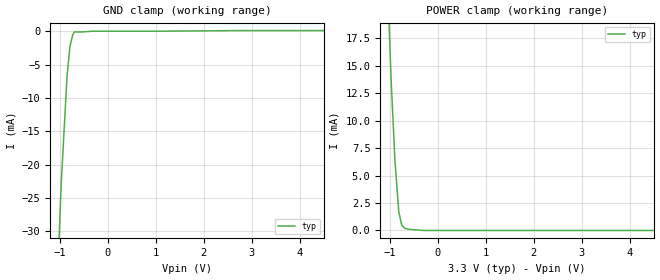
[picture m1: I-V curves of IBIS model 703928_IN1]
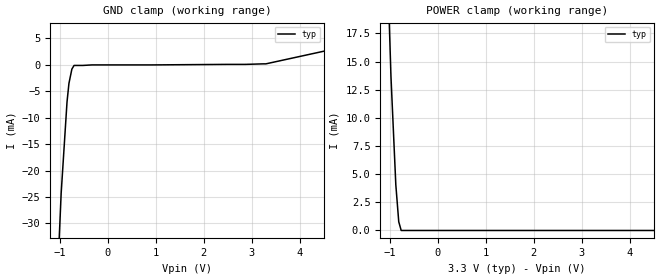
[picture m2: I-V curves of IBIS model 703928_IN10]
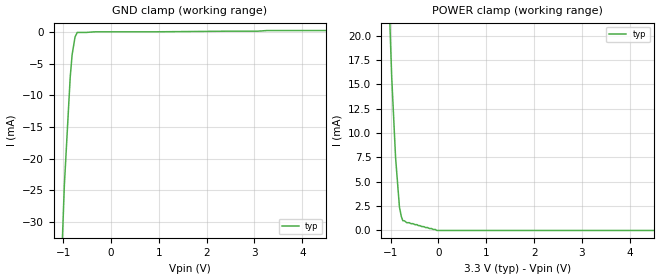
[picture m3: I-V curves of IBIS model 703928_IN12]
| YOU ARE ONLY AUTHORIZED TO USE THIS SOFTWARE
| ACCORDING TO LICENSOR'S LICENSE RESTRICTIONS.
[IBIS Ver] 3.1
[File Name] mc100ep195fa_33v_ecl.ibs
[File Rev] 0.1
[Source] Derived from mc100ep195fa_33v_ecl.ibs Measured and
|   created by ICX Technology
[Date] 11/8/2001
[Copyright]
| (C) COPYRIGHT 1993-2001
| MENTOR GRAPHICS CORPORATION
| ICX STANDARD LIBRARY, ICX PROJECT MODELING,
| ICX CUSTOM MODELING, ICX VENDOR MODEL
| ALL RIGHTS RESERVED.
| THE FOLLOWING ARE TRADEMARKS OR SERVICE MARKS OF
| MENTOR GRAPHICS CORPORATION:ICX (R), ICX STANDARD
| LIBRARY(R), ICX PROJECT MODELING(R), ICX CUSTOM
| MODELING(R), qualityIBIS(TM), MODELVIEWER(TM),
| AND MODELEDITOR(TM)
| ALL COPIES OF SOFTWARE, INCLUDING BUT NOT LIMITED TO
| ANY MODIFICATIONS, ENHANCEMENTS OR DERIVATIVE WORKS,
| MUST CONTAIN ALL MENTOR GRAPHICS CORPORATION'S
| NOTICES AND LEGENDS, INCLUDING THOSE EMBEDDED IN
| SOFTWARE AND THOSE AFFIXED TO SOFTWARE MEDIUM
| AND CONTAINER, AS RECEIVED FROM MENTOR GRAPHICS
| CORPORATION.
|  ZAP Model Builder 3.1
[Component] MC100EP195FA_33v_ECL
[Manufacturer] OnSemico
[Package]
| variable   typ   min   max
R_pkg  .067ohms NA NA
L_pkg  4.211nH NA NA
C_pkg  1.002pF NA NA
[Pin] signal_name  model_name  R_pin  L_pin C_pin
1 D8 703928_IN1 .065 3.973n .928p
2 D9 703928_IN2 .066 4.127n .978p
3 D10 703928_IN1 .068 4.288n 1.027p
4 IN 703928_IN4 .069 4.455n 1.077p
5 _IN 703928_IN4 .069 4.455n 1.077p
6 VBB POWER .068 4.288n 1.027p
7 VEF NC .066 4.127n .978p
8 VCF NC .065 3.973n .928p
9 VEE GND .065 3.973n .928p
10 LEN 703928_IN10 .066 4.127n .978p
11 SETMIN 703928_IN12 .068 4.288n 1.027p
12 SETMAX 703928_IN12 .069 4.455n 1.077p
13 VCC POWER .069 4.455n 1.077p
14 _CASCADE 703928_OUT14 .068 4.288n 1.027p
15 CASCADE 703928_OUT14 .066 4.127n .978p
16 _EN 703928_IN16 .065 3.973n .928p
17 NC NC .065 3.973n .928p
18 VCC POWER .066 4.127n .978p
19 VCC POWER .068 4.288n 1.027p
20 _Q 703928_OUT20 .069 4.455n 1.077p
21 Q 703928_OUT21 .069 4.455n 1.077p
22 VCC POWER .068 4.288n 1.027p
23 D0 703928_IN25 .066 4.127n .978p
24 VEE GND .065 3.973n .928p
25 D1 703928_IN25 .065 3.973n .928p
26 D2 703928_IN25 .066 4.127n .978p
27 D3 703928_IN25 .068 4.288n 1.027p
28 VEE GND .069 4.455n 1.077p
29 D4 703928_IN29 .069 4.455n 1.077p
30 D5 703928_IN30 .068 4.288n 1.027p
31 D6 703928_IN29 .066 4.127n .978p
32 D7 703928_IN29 .065 3.973n .928p
[Diff Pin] inv_pin vdiff tdelay_typ tdelay_min tdelay_max
4 5 NA NA NA NA
15 14 NA NA NA NA
21 20 NA NA NA NA
| Models and submodels in the file (12): 703928_IN1 (Input_ECL), 703928_IN10 (Input_ECL), 703928_IN12 (Input_ECL), 703928_IN16 (Input_ECL), 703928_IN2 (Input_ECL), 703928_IN25 (Input_ECL), 703928_IN29 (Input_ECL), 703928_IN30 (Input_ECL), 703928_IN4 (Input_ECL), 703928_OUT14 (Output_ECL), 703928_OUT20 (Output_ECL), 703928_OUT21 (Output_ECL)
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| (C) COPYRIGHT 1993-2001
| MENTOR GRAPHICS CORPORATION
| ICX STANDARD LIBRARY, ICX PROJECT MODELING,
| ICX CUSTOM MODELING, ICX VENDOR MODEL
| ALL RIGHTS RESERVED.
| THE FOLLOWING ARE TRADEMARKS OR SERVICE MARKS OF
| MENTOR GRAPHICS CORPORATION:ICX (R), ICX STANDARD
| LIBRARY(R), ICX PROJECT MODELING(R), ICX CUSTOM
| MODELING(R), qualityIBIS(TM), MODELVIEWER(TM),
| AND MODELEDITOR(TM)
| ALL COPIES OF SOFTWARE, INCLUDING BUT NOT LIMITED TO
| ANY MODIFICATIONS, ENHANCEMENTS OR DERIVATIVE WORKS,
| MUST CONTAIN ALL MENTOR GRAPHICS CORPORATION'S
| NOTICES AND LEGENDS, INCLUDING THOSE EMBEDDED IN
| SOFTWARE AND THOSE AFFIXED TO SOFTWARE MEDIUM
| AND CONTAINER, AS RECEIVED FROM MENTOR GRAPHICS
| CORPORATION.
| Model Application Version 1.89 2/18/99.
[Model] 703928_IN1
Model_type Input_ECL
Vinl = 1.755V
Vinh = 2.155V
C_comp 4.000pF NA NA
| variable typ   min   max
[Voltage Range] 3.300V NA NA
[GND Clamp Reference] 0.000V NA NA
[POWER Clamp Reference] 3.300V NA NA
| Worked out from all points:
|   GND clamp passes 1 mA (typ) near -0.75 V on its own axis
|   POWER clamp passes 1 mA (typ) near -0.78 V on its own axis
[GND Clamp]
-3.3V     -545.1mA   NA         NA
-1.135V   -53.3mA    NA         NA
-973mV    -23mA      NA         NA
-851mV    -6.8mA     NA         NA
-790mV    -2.3mA     NA         NA
-730mV    -500uA     NA         NA
-694.3mV  -100uA     NA         NA
-511.8mV  -100uA     NA         NA
-329.3mV  0A         NA         NA
1.044V    0A         NA         NA
2.716V    100uA      NA         NA
6.6V      100uA      NA         NA
[POWER Clamp]
-3.3V     378.7mA    NA         NA
-1.463V   80.9mA     NA         NA
-1.18V    38.9mA     NA         NA
-977mV    14mA       NA         NA
-896mV    6.5mA      NA         NA
-815mV    1.7mA      NA         NA
-754mV    500uA      NA         NA
-693mV    200uA      NA         NA
-592mV    100uA      NA         NA
-296mV    0A         NA         NA
6.6V      0A         NA         NA
| (C) COPYRIGHT 1993-2001
| MENTOR GRAPHICS CORPORATION
| ICX STANDARD LIBRARY, ICX PROJECT MODELING,
| ICX CUSTOM MODELING, ICX VENDOR MODEL
| ALL RIGHTS RESERVED.
| THE FOLLOWING ARE TRADEMARKS OR SERVICE MARKS OF
| MENTOR GRAPHICS CORPORATION:ICX (R), ICX STANDARD
| LIBRARY(R), ICX PROJECT MODELING(R), ICX CUSTOM
| MODELING(R), qualityIBIS(TM), MODELVIEWER(TM),
| AND MODELEDITOR(TM)
| ALL COPIES OF SOFTWARE, INCLUDING BUT NOT LIMITED TO
| ANY MODIFICATIONS, ENHANCEMENTS OR DERIVATIVE WORKS,
| MUST CONTAIN ALL MENTOR GRAPHICS CORPORATION'S
| NOTICES AND LEGENDS, INCLUDING THOSE EMBEDDED IN
| SOFTWARE AND THOSE AFFIXED TO SOFTWARE MEDIUM
| AND CONTAINER, AS RECEIVED FROM MENTOR GRAPHICS
| CORPORATION.
| Model Application Version 1.89 2/18/99.
[Model] 703928_IN10
Model_type Input_ECL
Vinl = 1.755V
Vinh = 2.155V
C_comp 4.000pF NA NA
| variable typ   min   max
[Voltage Range] 3.300V NA NA
[GND Clamp Reference] 0.000V NA NA
[POWER Clamp Reference] 3.300V NA NA
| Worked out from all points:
|   GND clamp passes 1 mA (typ) near -0.75 V on its own axis
|   POWER clamp passes 1 mA (typ) near -0.82 V on its own axis
[GND Clamp]
-3.3V     -612mA     NA         NA
-1.115V   -53.9mA    NA         NA
-973mV    -24.3mA    NA         NA
-851mV    -7mA       NA         NA
-811mV    -3.5mA     NA         NA
-750mV    -800uA     NA         NA
-704.3mV  -100uA     NA         NA
3.294V    200uA      NA         NA
6.6V      6.748mA    NA         NA
[POWER Clamp]
-3.3V     422.1mA    NA         NA
-1.484V   91.15mA    NA         NA
-1.18V    40.95mA    NA         NA
-977mV    13.65mA    NA         NA
-876mV    4.052mA    NA         NA
-815mV    773.3uA    NA         NA
-764.1mV  0A         NA         NA
6.6V      0A         NA         NA
| (C) COPYRIGHT 1993-2001
| MENTOR GRAPHICS CORPORATION
| ICX STANDARD LIBRARY, ICX PROJECT MODELING,
| ICX CUSTOM MODELING, ICX VENDOR MODEL
| ALL RIGHTS RESERVED.
| THE FOLLOWING ARE TRADEMARKS OR SERVICE MARKS OF
| MENTOR GRAPHICS CORPORATION:ICX (R), ICX STANDARD
| LIBRARY(R), ICX PROJECT MODELING(R), ICX CUSTOM
| MODELING(R), qualityIBIS(TM), MODELVIEWER(TM),
| AND MODELEDITOR(TM)
| ALL COPIES OF SOFTWARE, INCLUDING BUT NOT LIMITED TO
| ANY MODIFICATIONS, ENHANCEMENTS OR DERIVATIVE WORKS,
| MUST CONTAIN ALL MENTOR GRAPHICS CORPORATION'S
| NOTICES AND LEGENDS, INCLUDING THOSE EMBEDDED IN
| SOFTWARE AND THOSE AFFIXED TO SOFTWARE MEDIUM
| AND CONTAINER, AS RECEIVED FROM MENTOR GRAPHICS
| CORPORATION.
| Model Application Version 1.89 2/18/99.
[Model] 703928_IN12
Model_type Input_ECL
Vinl = 1.755V
Vinh = 2.155V
C_comp 4.000pF NA NA
| variable typ   min   max
[Voltage Range] 3.300V NA NA
[GND Clamp Reference] 0.000V NA NA
[POWER Clamp Reference] 3.300V NA NA
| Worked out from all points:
|   GND clamp passes 1 mA (typ) near -0.75 V on its own axis
|   POWER clamp passes 1 mA (typ) near -0.71 V on its own axis
[GND Clamp]
-3.3V     -598.5mA   NA         NA
-1.115V   -53.3mA    NA         NA
-973mV    -24.1mA    NA         NA
-851mV    -7.1mA     NA         NA
-811mV    -3.6mA     NA         NA
-750mV    -800uA     NA         NA
-704.3mV  -100uA     NA         NA
3.264V    200uA      NA         NA
6.6V      200uA      NA         NA
[POWER Clamp]
-3.3V     440.5mA    NA         NA
-1.241V   53.7mA     NA         NA
-977mV    15.8mA     NA         NA
-896mV    7.5mA      NA         NA
-815mV    2.4mA      NA         NA
-774mV    1.4mA      NA         NA
-743.5mV  1mA        NA         NA
-713mV    1mA        NA         NA
-662.5mV  800uA      NA         NA
-450mV    600uA      NA         NA
-32.5mV   0A         NA         NA
6.6V      0A         NA         NA
